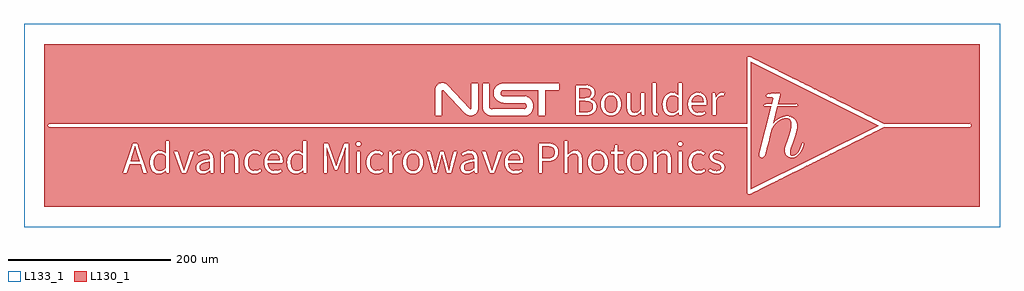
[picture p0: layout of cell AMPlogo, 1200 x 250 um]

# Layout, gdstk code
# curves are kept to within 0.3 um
import gdstk
lib = gdstk.Library(unit=1e-6, precision=1e-09)
def R(c, l, rs):  # rectangles x0, y0, x1, y1
    for r in rs: c.add(gdstk.rectangle(r[:2], r[2:], *l))
def P(c, l, *ps):  # polygons
    for p in ps: c.add(gdstk.Polygon(p, *l))
L130_1 = (130, 1)
L133_1 = (133, 1)

amplogo = lib.new_cell('AMPlogo')
P(amplogo, L130_1, [(197.13,15.66),(193.65,16.62),(191.31,19.08),(190.11,22.32),(189.75,26.82),(190.59,31.14),(192.45,34.26),(195.03,36.18),(198.33,36.72),(201.27,35.94),(204.33,33.84),(204.33,19.44),(200.85,16.5)],
  [(82.89,16.2),(82.89,30.18),(93.15,29.88),(96.09,28.98),(98.31,27.3),(99.33,25.08),(99.39,22.14),(98.61,19.8),(96.99,18.06),(95.07,17.04),(92.01,16.32)],
  [(-4.65,-42.96),(-3.87,-39.54),(-2.91,-37.8),(-1.11,-35.88),(1.41,-34.62),(4.23,-34.44),(6.87,-35.34),(8.67,-37.14),(9.81,-40.02),(10.05,-42.96)],
  [(-300.33,-42.96),(-299.61,-39.78),(-298.11,-37.2),(-296.19,-35.46),(-293.97,-34.56),(-291.45,-34.44),(-288.99,-35.22),(-287.19,-36.84),(-285.93,-39.66),(-285.63,-42.96)],
  [(82.89,33.78),(82.89,45.84),(92.25,45.54),(95.07,44.52),(96.39,43.32),(97.17,41.52),(97.29,39),(96.63,36.96),(95.25,35.4),(91.05,33.9)],
  [(293.79,-78.6),(293.79,39.66),(327.93,39.66),(314.19,38.46),(313.29,38.1),(312.69,37.08),(312.63,35.76),(313.11,35.16),(319.95,34.5),(320.85,33.78),(320.91,32.52),(319.35,26.28),(311.01,26.22),(310.05,25.92),(309.57,25.08),(309.75,24),(310.65,23.52),(318.69,23.46),(303.99,-34.98),(303.93,-37.44),(304.89,-38.94),(306.45,-39.6),(308.49,-39.42),(309.87,-38.64),(311.13,-37.02),(319.17,-5.04),(320.31,-2.82),(323.43,1.56),(325.95,4.14),(329.61,6.78),(332.67,8.1),(336.39,8.82),(340.17,8.34),(342.27,6.54),(343.47,2.76),(343.23,-2.52),(341.61,-9.54),(335.19,-28.68),(335.49,-33.3),(337.53,-36.9),(340.17,-38.76),(343.23,-39.6),(345.81,-39.54),(349.83,-38.04),(352.53,-35.76),(355.23,-32.16),(357.63,-27.18),(359.07,-22.38),(358.53,-21.3),(356.67,-21.48),(353.25,-30.36),(349.35,-35.34),(347.43,-36.54),(345.27,-37.14),(343.53,-37.02),(342.39,-36.12),(341.85,-34.26),(342.39,-29.64),(347.73,-14.52),(350.37,-4.56),(350.61,1.44),(349.17,5.88),(346.89,8.58),(343.23,10.56),(339.99,11.22),(335.55,11.22),(331.89,10.44),(328.17,8.82),(324.99,6.66),(321.15,2.76),(326.31,23.46),(349.65,23.46),(351.09,24),(351.21,25.44),(350.55,26.04),(349.05,26.28),(327.03,26.28),(330.03,38.04),(329.85,39.12),(329.13,39.6),(293.79,39.66),(293.79,78.66),(450.99,0)],
  [(220.77,28.38),(221.43,31.44),(222.87,34.02),(224.79,35.82),(227.31,36.84),(230.13,36.84),(232.59,35.82),(234.15,34.14),(235.23,31.38),(235.47,28.38)],
  [(-433.53,-55.68),(-436.65,-54.72),(-439.11,-52.02),(-440.25,-48.6),(-440.49,-43.92),(-439.53,-39.84),(-437.55,-36.78),(-434.91,-35.04),(-432.27,-34.62),(-429.03,-35.4),(-425.91,-37.5),(-425.91,-51.9),(-429.75,-55.02)],
  [(121.65,15.6),(118.35,16.38),(115.77,18.66),(114.21,22.14),(113.73,26.46),(114.39,30.78),(116.07,34.08),(119.19,36.36),(122.25,36.78),(125.55,35.64),(128.01,32.94),(129.33,29.28),(129.57,24.9),(128.79,21.06),(127.05,18.06),(124.47,16.14)],
  [(-379.41,-55.86),(-381.69,-55.32),(-383.31,-53.94),(-383.85,-50.7),(-383.01,-48.66),(-381.45,-47.22),(-379.17,-46.14),(-371.55,-44.52),(-371.55,-52.2),(-375.63,-55.14)],
  [(-54.51,-55.86),(-57.21,-55.08),(-58.47,-53.82),(-58.95,-50.82),(-58.11,-48.66),(-56.25,-47.04),(-54.09,-46.08),(-46.65,-44.52),(-46.65,-52.2),(-50.85,-55.2)],
  [(-264.99,-55.68),(-267.99,-54.78),(-270.39,-52.26),(-271.65,-48.66),(-271.89,-43.74),(-270.93,-39.78),(-269.19,-37.02),(-266.61,-35.16),(-263.73,-34.62),(-260.31,-35.46),(-257.31,-37.5),(-257.31,-51.9),(-261.03,-54.96)],
  [(-575,-100),(-575,-21.84),(-466.05,-21.84),(-478.59,-58.92),(-473.79,-58.92),(-470.25,-47.58),(-456.75,-47.58),(-453.21,-58.92),(-448.17,-58.92),(-460.71,-21.84),(-575,-21.84),(-575,-18.66),(-425.91,-18.66),(-425.67,-33.9),(-428.67,-31.86),(-431.01,-30.96),(-433.71,-30.72),(-437.07,-31.38),(-439.41,-32.58),(-441.87,-34.8),(-443.91,-38.1),(-444.93,-41.16),(-445.17,-48.24),(-443.61,-53.82),(-442.23,-55.92),(-439.65,-58.14),(-437.07,-59.22),(-434.67,-59.58),(-430.35,-58.92),(-425.67,-55.68),(-425.07,-58.92),(-421.23,-58.92),(-421.23,-31.44),(-395.49,-31.44),(-403.17,-55.08),(-411.15,-31.44),(-415.95,-31.44),(-406.05,-58.92),(-400.59,-58.92),(-390.87,-31.44),(-421.23,-31.44),(-421.23,-30.72),(-376.83,-30.72),(-381.81,-31.62),(-387.21,-34.32),(-385.41,-37.5),(-380.31,-34.98),(-377.43,-34.56),(-375.33,-34.8),(-373.11,-36.12),(-371.85,-38.7),(-371.55,-41.46),(-378.15,-42.54),(-382.83,-44.04),(-385.77,-45.84),(-387.75,-48.42),(-388.41,-52.26),(-387.39,-56.04),(-384.51,-58.68),(-381.09,-59.58),(-376.23,-58.8),(-371.31,-55.62),(-370.71,-58.92),(-366.87,-58.92),(-366.87,-40.68),(-367.65,-36.6),(-368.91,-34.08),(-370.83,-32.16),(-372.87,-31.2),(-375.99,-30.72),(-344.97,-30.72),(-348.87,-31.62),(-353.79,-35.4),(-354.39,-31.44),(-358.23,-31.44),(-358.23,-58.92),(-353.55,-58.92),(-353.55,-38.94),(-349.59,-35.64),(-346.53,-34.74),(-344.43,-34.92),(-342.81,-35.7),(-341.85,-36.84),(-341.13,-38.82),(-340.83,-58.92),(-336.21,-58.92),(-336.21,-40.56),(-336.75,-36.66),(-337.83,-34.02),(-339.57,-32.1),(-341.55,-31.14),(-344.25,-30.72),(-316.47,-30.72),(-321.63,-31.86),(-325.83,-34.98),(-328.29,-39.12),(-329.31,-43.68),(-328.71,-50.34),(-326.43,-54.96),(-322.83,-58.02),(-320.19,-59.1),(-317.25,-59.58),(-311.79,-58.74),(-307.59,-56.04),(-309.63,-52.98),(-313.35,-55.32),(-316.59,-55.74),(-320.07,-54.72),(-322.29,-52.8),(-324.15,-48.78),(-324.51,-43.92),(-323.79,-40.5),(-321.87,-37.2),(-318.99,-35.16),(-316.11,-34.56),(-313.41,-35.04),(-310.47,-37.02),(-308.07,-33.96),(-311.85,-31.5),(-315.75,-30.72),(-292.83,-30.72),(-295.71,-31.2),(-298.41,-32.4),(-301.17,-34.68),(-302.79,-36.96),(-304.23,-40.32),(-304.77,-43.32),(-304.71,-47.64),(-303.87,-51.18),(-302.73,-53.58),(-300.81,-56.04),(-298.65,-57.72),(-295.47,-59.1),(-292.47,-59.58),(-288.39,-59.28),(-282.63,-56.76),(-284.25,-53.7),(-287.19,-55.2),(-289.71,-55.8),(-292.77,-55.74),(-294.93,-55.14),(-297.03,-53.82),(-298.41,-52.26),(-300.03,-48.24),(-300.27,-46.26),(-281.67,-46.26),(-281.67,-41.04),(-282.93,-36.54),(-285.39,-33.18),(-288.99,-31.2),(-292.11,-30.72),(-421.23,-30.72),(-421.23,-18.66),(-257.31,-18.66),(-257.13,-33.9),(-259.77,-32.04),(-262.41,-30.96),(-265.17,-30.72),(-268.65,-31.44),(-271.17,-32.82),(-273.39,-34.92),(-275.25,-37.92),(-276.39,-41.34),(-276.57,-48.36),(-274.83,-54.18),(-273.45,-56.16),(-271.05,-58.14),(-268.71,-59.16),(-266.13,-59.58),(-261.63,-58.86),(-257.07,-55.68),(-256.47,-58.92),(-252.63,-58.92),(-252.63,-21.84),(-206.49,-21.84),(-216.03,-49.32),(-226.05,-21.84),(-231.69,-21.84),(-231.69,-58.92),(-227.43,-58.92),(-227.43,-37.08),(-228.03,-27.54),(-217.83,-55.14),(-214.71,-55.14),(-204.57,-27.54),(-205.17,-36.6),(-205.17,-58.92),(-200.79,-58.92),(-200.79,-31.44),(-191.07,-31.44),(-191.07,-58.92),(-186.45,-58.92),(-186.45,-31.44),(-200.79,-31.44),(-200.79,-30.72),(-166.35,-30.72),(-171.63,-31.92),(-175.29,-34.56),(-178.11,-39),(-179.19,-44.16),(-178.59,-50.28),(-176.19,-55.08),(-174.57,-56.76),(-171.99,-58.38),(-167.07,-59.58),(-161.97,-58.86),(-157.41,-56.04),(-159.45,-52.98),(-161.61,-54.54),(-164.07,-55.56),(-166.47,-55.74),(-169.23,-55.08),(-171.99,-52.98),(-173.85,-49.32),(-174.39,-46.08),(-174.15,-42.3),(-172.83,-38.76),(-171.33,-36.78),(-168.69,-35.1),(-165.63,-34.56),(-162.87,-35.22),(-160.29,-37.02),(-157.95,-33.96),(-161.97,-31.38),(-165.57,-30.72),(-139.47,-30.72),(-141.63,-31.14),(-143.61,-32.22),(-145.47,-34.02),(-147.03,-36.42),(-147.57,-31.44),(-151.41,-31.44),(-151.41,-58.92),(-146.79,-58.92),(-146.79,-41.22),(-144.93,-37.74),(-142.89,-35.88),(-140.25,-34.92),(-137.19,-35.4),(-136.29,-31.32),(-138.93,-30.72),(-122.01,-30.72),(-126.39,-31.62),(-130.41,-34.38),(-133.29,-38.88),(-134.37,-44.16),(-133.89,-49.68),(-131.55,-54.66),(-127.65,-58.08),(-125.19,-59.1),(-122.37,-59.58),(-118.11,-59.1),(-114.09,-57.06),(-110.91,-53.34),(-109.23,-48.78),(-108.99,-43.32),(-110.25,-38.4),(-113.31,-33.96),(-117.45,-31.44),(-71.67,-31.44),(-77.37,-54.96),(-83.85,-31.44),(-88.35,-31.44),(-94.47,-54.96),(-100.41,-31.44),(-105.15,-31.44),(-97.53,-58.92),(-92.07,-58.92),(-86.31,-36.24),(-80.25,-58.92),(-74.61,-58.92),(-67.29,-31.44),(-117.57,-31.44),(-121.29,-30.72),(-51.93,-30.72),(-56.91,-31.62),(-62.31,-34.32),(-60.51,-37.5),(-55.41,-34.98),(-52.53,-34.56),(-50.43,-34.8),(-48.09,-36.24),(-46.95,-38.64),(-46.65,-41.46),(-53.25,-42.54),(-57.93,-44.04),(-60.87,-45.84),(-62.73,-48.18),(-63.51,-51.9),(-62.55,-55.92),(-60.03,-58.44),(-56.13,-59.58),(-51.15,-58.74),(-46.41,-55.62),(-45.81,-58.92),(-41.97,-58.92),(-42.21,-38.64),(-44.01,-34.08),(-45.57,-32.4),(-47.31,-31.44),(-16.77,-31.44),(-24.45,-55.08),(-32.43,-31.44),(-37.23,-31.44),(-27.39,-58.92),(-21.93,-58.92),(-12.21,-31.44),(-47.43,-31.44),(-51.09,-30.72),(2.79,-30.72),(-0.03,-31.2),(-2.85,-32.46),(-5.55,-34.74),(-7.23,-37.14),(-8.55,-40.26),(-9.15,-43.74),(-9.03,-47.88),(-8.19,-51.24),(-6.81,-54),(-4.77,-56.4),(-0.03,-59.04),(3.21,-59.58),(6.63,-59.4),(9.09,-58.74),(13.05,-56.76),(11.43,-53.7),(6.39,-55.74),(3.33,-55.8),(0.87,-55.2),(-2.19,-52.98),(-4.05,-49.5),(-4.59,-46.26),(14.01,-46.14),(13.89,-40.38),(12.39,-35.88),(9.51,-32.58),(5.01,-30.84),(-200.79,-30.72),(-200.79,-21.84),(-252.63,-21.84),(-252.63,-19.8),(-189.33,-19.8),(-191.07,-20.64),(-191.91,-22.32),(-191.43,-24.48),(-189.39,-25.74),(-187.53,-25.62),(-186.03,-24.54),(-185.49,-23.34),(-185.61,-21.84),(32.61,-21.84),(32.61,-58.92),(37.29,-58.92),(37.29,-44.22),(45.93,-44.1),(50.79,-42.9),(54.69,-40.08),(56.67,-36.3),(57.09,-33.72),(56.91,-30.12),(54.99,-25.8),(53.13,-24.12),(50.97,-22.98),(45.03,-21.84),(-185.61,-21.84),(-186.57,-20.46),(-188.07,-19.8),(-252.63,-19.8),(-252.63,-18.66),(64.17,-18.66),(64.17,-58.92),(68.79,-58.92),(68.79,-39),(72.51,-35.82),(75.87,-34.74),(77.73,-34.86),(79.41,-35.58),(80.61,-36.96),(81.27,-38.82),(81.51,-58.92),(86.19,-58.92),(86.13,-39.6),(85.65,-36.66),(84.57,-34.08),(83.19,-32.4),(81.39,-31.32),(76.59,-30.78),(73.35,-31.74),(68.671,-35.22),(68.767,-30.72),(105.33,-30.72),(101.25,-31.5),(97.65,-33.66),(94.83,-37.2),(93.15,-42.12),(93.09,-47.88),(94.35,-52.26),(97.53,-56.58),(101.19,-58.8),(104.25,-59.52),(107.13,-59.52),(109.77,-58.92),(112.35,-57.66),(114.57,-55.86),(116.13,-53.82),(118.23,-47.94),(118.23,-42.48),(116.79,-37.8),(114.87,-34.86),(111.03,-31.92),(106.05,-30.72),(68.767,-30.72),(68.79,-23.76),(126.27,-23.76),(125.73,-31.44),(121.41,-31.68),(121.41,-35.22),(125.49,-35.22),(125.49,-51.72),(125.85,-54.18),(127.71,-57.66),(129.33,-58.8),(131.49,-59.46),(134.55,-59.52),(138.39,-58.56),(137.49,-55.08),(134.79,-55.8),(132.45,-55.5),(130.89,-54.18),(130.17,-51.42),(130.17,-35.22),(137.55,-35.22),(137.55,-31.44),(130.17,-31.44),(130.17,-30.72),(153.33,-30.72),(148.95,-31.62),(144.93,-34.38),(142.05,-38.88),(140.97,-44.16),(141.45,-49.68),(143.79,-54.66),(146.79,-57.54),(151.77,-59.46),(157.23,-59.1),(161.61,-56.76),(163.59,-54.66),(164.97,-52.26),(166.35,-47.1),(165.87,-40.62),(163.11,-35.1),(161.13,-33.18),(158.67,-31.74),(154.05,-30.72),(186.93,-30.72),(182.61,-31.86),(178.11,-35.4),(177.57,-31.44),(173.73,-31.44),(173.73,-58.92),(178.35,-58.92),(178.35,-38.94),(182.31,-35.64),(185.43,-34.74),(187.71,-34.98),(189.09,-35.7),(190.17,-37.02),(190.77,-38.76),(191.07,-58.92),(195.69,-58.92),(195.51,-38.34),(194.07,-34.02),(192.99,-32.64),(191.13,-31.44),(204.63,-31.44),(204.63,-58.92),(209.25,-58.92),(209.25,-31.44),(191.07,-31.44),(187.65,-30.72),(229.35,-30.72),(224.19,-31.86),(220.05,-34.92),(217.83,-38.4),(216.51,-43.74),(217.05,-50.1),(219.39,-54.96),(222.99,-58.02),(225.63,-59.1),(228.63,-59.58),(234.03,-58.74),(238.23,-56.04),(236.19,-52.98),(232.47,-55.32),(229.23,-55.74),(225.87,-54.78),(223.53,-52.8),(222.09,-50.1),(221.31,-46.5),(221.61,-41.94),(223.47,-37.8),(225.75,-35.7),(229.71,-34.56),(232.41,-35.04),(235.35,-37.02),(237.75,-33.96),(233.97,-31.5),(230.13,-30.72),(251.55,-30.72),(247.41,-31.56),(244.11,-33.9),(242.73,-36.72),(242.67,-40.02),(243.75,-42.3),(245.49,-44.04),(253.71,-47.64),(255.75,-48.96),(256.95,-50.82),(256.71,-53.34),(254.73,-55.38),(251.25,-55.98),(247.17,-55.08),(243.51,-52.68),(241.17,-55.8),(244.17,-57.78),(247.53,-59.1),(250.65,-59.58),(254.49,-59.28),(257.43,-58.2),(259.41,-56.7),(260.97,-54.24),(261.51,-51.72),(261.03,-48.72),(259.11,-46.08),(256.35,-44.34),(249.39,-41.58),(247.23,-39.54),(246.99,-38.16),(247.59,-36.24),(248.73,-35.1),(250.29,-34.5),(254.49,-34.68),(258.33,-36.78),(260.55,-33.84),(257.31,-31.86),(254.25,-30.9),(130.17,-30.72),(130.17,-23.76),(68.79,-23.76),(68.79,-19.8),(206.37,-19.8),(204.27,-21),(203.79,-23.4),(205.17,-25.32),(207.69,-25.74),(209.79,-24.36),(210.21,-22.32),(209.19,-20.52),(207.63,-19.8),(68.79,-19.8),(68.79,-18.66),(-575,-18.66),(-575,52.5),(-85.89,52.5),(-88.53,52.02),(-91.77,50.16),(-93.51,47.94),(-94.47,45.24),(-94.59,11.76),(-86.31,11.76),(-86.31,42.3),(-86.07,43.02),(-85.23,43.44),(-83.79,42.9),(-58.17,15),(-55.71,13.26),(-51.51,11.94),(-47.61,12.48),(-44.79,14.1),(-43.11,15.9),(-41.97,18.06),(-41.61,19.56),(-41.61,52.02),(-50.01,52.02),(-50.01,21.06),(-50.73,20.22),(-51.93,20.58),(-79.35,50.22),(-82.47,52.02),(-10.77,52.02),(-13.83,51.48),(-17.13,50.1),(-19.29,48.48),(-21.57,45.3),(-22.53,42.18),(-22.65,37.98),(-21.51,34.5),(-19.65,31.98),(-16.35,29.46),(-11.31,27.72),(14.73,27.66),(16.29,26.94),(17.25,25.86),(17.79,23.04),(17.01,21.48),(14.85,20.1),(-24.09,20.1),(-26.37,20.52),(-27.39,21.36),(-27.81,22.56),(-27.81,52.02),(-36.21,52.02),(-36.21,22.62),(-35.37,18.6),(-33.21,15.36),(-30.21,13.14),(-26.67,12.06),(-22.95,11.76),(17.31,11.88),(19.83,12.6),(22.53,14.4),(24.39,16.8),(25.29,18.9),(26.07,22.86),(25.65,27.9),(24.03,31.44),(21.39,34.08),(18.57,35.52),(15.99,36),(-11.07,36.18),(-13.23,37.5),(-13.95,39.66),(-13.29,41.64),(-10.95,43.44),(32.31,43.5),(32.31,11.76),(40.65,11.76),(40.65,43.5),(57.87,43.5),(57.87,49.56),(78.21,49.56),(78.21,12.48),(94.17,12.78),(99.15,14.46),(101.97,16.8),(103.35,19.08),(103.95,21.18),(104.07,24.48),(103.47,27.12),(100.95,30.36),(96.51,32.22),(98.67,33.42),(100.29,35.04),(101.55,37.62),(101.97,40.62),(120.93,40.62),(115.77,39.18),(111.99,35.94),(109.71,31.62),(108.93,25.56),(109.83,20.34),(112.41,15.9),(114.45,14.04),(116.79,12.72),(121.41,11.76),(126.21,12.6),(129.93,14.88),(132.87,18.9),(134.25,23.58),(134.07,29.82),(132.39,34.32),(129.57,37.8),(125.73,39.96),(158.55,39.96),(158.55,20.46),(155.19,17.04),(151.53,15.78),(148.17,16.5),(147.03,17.64),(146.25,19.74),(145.95,39.96),(141.27,39.96),(141.51,19.02),(143.31,14.4),(144.69,13.08),(146.61,12.18),(149.97,11.76),(153.21,12.36),(155.85,13.92),(158.73,16.74),(159.33,12.48),(163.17,12.48),(163.17,39.96),(125.61,39.96),(122.43,40.62),(101.97,40.62),(101.67,43.02),(100.29,45.78),(98.25,47.58),(95.31,48.84),(90.15,49.56),(57.87,49.56),(57.87,52.02),(-82.65,52.02),(-84.99,52.5),(-575,52.74),(172.47,52.74),(172.53,16.5),(172.95,14.58),(173.91,12.96),(175.53,12),(177.15,11.76),(180.03,12.24),(179.43,15.72),(177.81,15.78),(177.09,17.46),(177.09,52.74),(204.33,52.74),(204.567,37.5),(201.75,39.42),(199.35,40.38),(196.17,40.62),(193.47,40.08),(190.83,38.76),(188.61,36.78),(186.81,34.2),(185.49,30.84),(185.01,24.12),(186.45,18),(189.39,14.1),(191.73,12.66),(194.55,11.88),(197.43,11.82),(199.71,12.36),(204.57,15.66),(205.23,12.48),(209.07,12.48),(209.07,40.62),(227.85,40.62),(222.99,39.12),(219.27,35.88),(216.87,31.08),(216.27,24.84),(217.17,20.28),(220.05,15.54),(224.37,12.66),(229.11,11.76),(233.55,12.3),(238.47,14.58),(236.85,17.64),(231.69,15.6),(228.39,15.6),(225.81,16.38),(223.95,17.64),(222.39,19.56),(221.31,22.08),(220.83,25.08),(239.37,25.08),(239.55,26.64),(239.07,32.22),(237.15,36.54),(233.67,39.54),(229.41,40.62),(257.97,40.62),(255.81,40.08),(253.89,38.94),(250.77,34.98),(250.17,39.96),(246.33,39.96),(246.33,12.48),(250.95,12.48),(250.95,30.12),(252.57,33.24),(254.85,35.46),(257.31,36.42),(260.61,36),(261.51,40.02),(259.17,40.62),(209.07,40.62),(209.07,52.74),(-575,52.74),(-575,84.78),(290.91,84.78),(289.47,83.82),(289.05,82.8),(289.05,2.34),(-568.77,2.34),(-570.27,1.32),(-570.63,-0.36),(-570.03,-1.62),(-568.65,-2.34),(289.05,-2.34),(289.05,-82.74),(289.53,-83.88),(291.09,-84.78),(292.23,-84.66),(456.81,-2.34),(562.71,-2.34),(563.85,-1.8),(564.63,-0.48),(564.33,1.26),(562.77,2.34),(456.81,2.34),(291.87,84.78),(-575,84.78),(-575,100),(575,100),(575,-100)],
  [(-122.19,-55.74),(-125.31,-54.78),(-127.77,-52.38),(-129.27,-48.54),(-129.57,-44.34),(-129.03,-40.92),(-127.29,-37.32),(-124.35,-35.1),(-121.47,-34.56),(-117.99,-35.58),(-115.35,-38.34),(-114.09,-41.58),(-113.73,-46.2),(-114.57,-50.4),(-116.25,-53.28),(-118.95,-55.26)],
  [(153.15,-55.74),(150.03,-54.78),(147.57,-52.38),(146.07,-48.54),(145.77,-44.34),(146.31,-40.92),(148.05,-37.32),(150.99,-35.1),(153.87,-34.56),(157.35,-35.58),(159.99,-38.34),(161.25,-41.58),(161.61,-46.2),(160.77,-50.4),(159.09,-53.28),(156.39,-55.26)],
  [(105.15,-55.74),(102.21,-54.9),(99.63,-52.5),(98.01,-48.36),(97.77,-43.92),(98.67,-39.78),(100.23,-37.08),(102.81,-35.16),(105.81,-34.56),(109.11,-35.46),(111.27,-37.32),(113.01,-40.8),(113.61,-45.42),(113.07,-49.44),(111.27,-53.04),(108.51,-55.2)],
  [(-469.05,-43.8),(-463.41,-25.68),(-457.89,-43.8)],
  [(37.29,-40.38),(37.29,-25.62),(46.29,-25.86),(49.23,-26.76),(50.85,-27.9),(52.05,-29.94),(52.41,-33.48),(51.81,-36.24),(50.31,-38.34),(48.75,-39.36),(46.05,-40.14)])
R(amplogo, L133_1, [(-600,-125,600,125)])

lib.write_gds('AMPlogo.gds')
